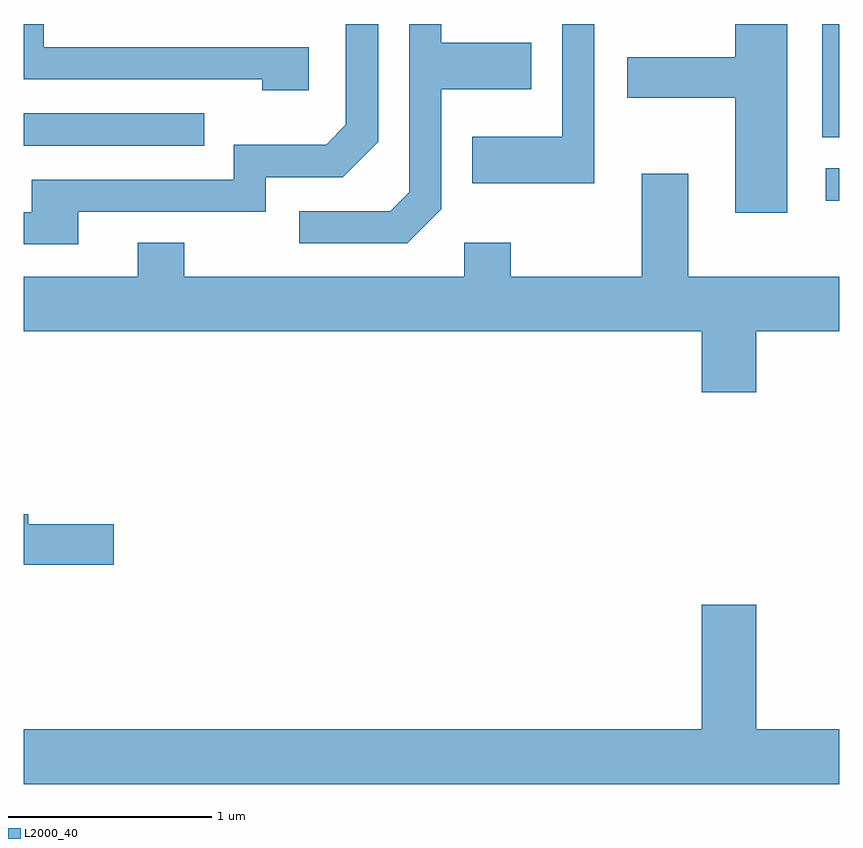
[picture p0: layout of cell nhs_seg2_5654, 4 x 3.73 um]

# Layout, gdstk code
import gdstk
lib = gdstk.Library(unit=1e-6, precision=1e-09)
def R(c, l, rs):  # rectangles x0, y0, x1, y1
    for r in rs: c.add(gdstk.rectangle(r[:2], r[2:], *l))
def P(c, l, *ps):  # polygons
    for p in ps: c.add(gdstk.Polygon(p, *l))
L2000_40 = (2000, 40)

nhs_seg2_5654 = lib.new_cell('nhs_seg2_5654')
R(nhs_seg2_5654, L2000_40, [(355.543,1068.936,355.611,1069.094), (351.611,1069.206,352.498,1069.364), (355.526,1069.246,355.611,1069.802)])
P(nhs_seg2_5654, L2000_40, [(353.659,1068.894),(353.659,1069.481),(354.099,1069.481),(354.099,1069.709),(353.659,1069.709),(353.659,1069.802),(353.501,1069.802),(353.501,1068.977),(353.409,1068.884),(352.963,1068.884),(352.963,1068.726),(353.492,1068.726)],
  [(353.009,1069.689),(351.709,1069.689),(351.709,1069.802),(351.611,1069.802),(351.611,1069.531),(352.781,1069.531),(352.781,1069.476),(353.009,1069.476)],
  [(355.354,1069.802),(355.101,1069.802),(355.101,1069.639),(354.571,1069.639),(354.571,1069.441),(355.101,1069.441),(355.101,1068.876),(355.354,1068.876)],
  [(351.879,1068.881),(352.799,1068.881),(352.799,1069.051),(353.177,1069.051),(353.349,1069.224),(353.349,1069.802),(353.191,1069.802),(353.191,1069.307),(353.094,1069.209),(352.641,1069.209),(352.641,1069.039),(351.651,1069.039),(351.651,1068.879),(351.611,1068.879),(351.611,1068.721),(351.879,1068.721)],
  [(354.409,1069.802),(354.251,1069.802),(354.251,1069.249),(353.811,1069.249),(353.811,1069.021),(354.409,1069.021)],
  [(355.204,1068.296),(355.611,1068.296),(355.611,1068.564),(354.869,1068.564),(354.869,1069.069),(354.641,1069.069),(354.641,1068.564),(353.999,1068.564),(353.999,1068.729),(353.771,1068.729),(353.771,1068.564),(352.399,1068.564),(352.399,1068.729),(352.171,1068.729),(352.171,1068.564),(351.611,1068.564),(351.611,1068.296),(354.936,1068.296),(354.936,1067.996),(355.204,1067.996)],
  [(352.054,1067.349),(351.634,1067.349),(351.634,1067.399),(351.611,1067.399),(351.611,1067.151),(352.054,1067.151)],
  [(355.611,1066.344),(355.204,1066.344),(355.204,1066.954),(354.936,1066.954),(354.936,1066.344),(351.611,1066.344),(351.611,1066.076),(355.611,1066.076)])

lib.write_gds('nhs_seg2_5654.gds')
